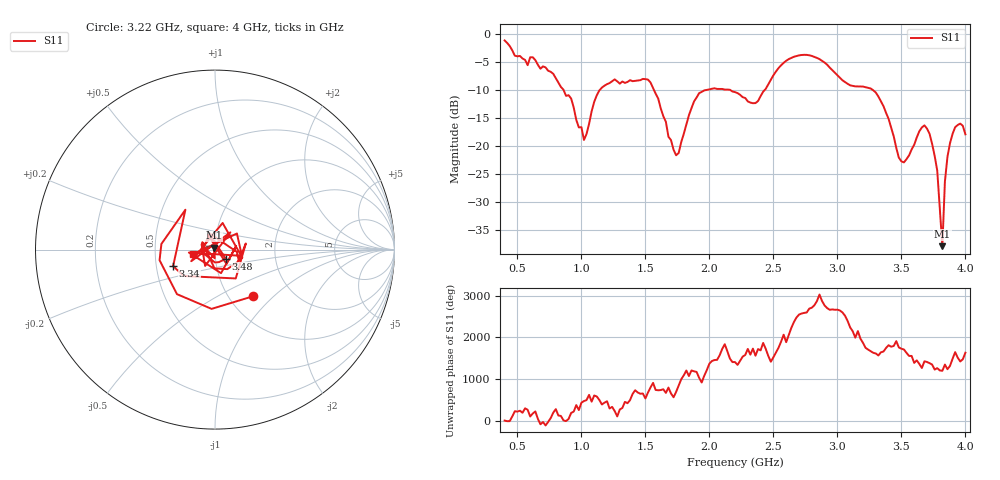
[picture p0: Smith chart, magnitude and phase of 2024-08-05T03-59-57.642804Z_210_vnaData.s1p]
!Created with skrf (http://scikit-rf.org).
# Hz S RI R 50.0
!freq ReS11 ImS11
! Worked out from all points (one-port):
!   181 points, 400 MHz to 4 GHz, reference 50 ohm
!   lowest |S11| = -37.9 dB at 3.82 GHz (marker M1), VSWR 1.03, Z = 49.3 + j1.09 ohm
!   |S11| at or under -10 dB: 860.9 MHz to 1.143 GHz (282.3 MHz wide, 28.2 % of centre); 1.567 GHz to 1.975 GHz (407.9 MHz wide, 23 % of centre); 3.277 GHz to end of sweep (the widest 3 of 4)
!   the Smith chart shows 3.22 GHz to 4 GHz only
!   S11 on the Smith chart (normalised r, x): 3.22 GHz: 1.29, -0.75; 3.34 GHz: 0.61, -0.12; 3.48 GHz: 1.12, -0.12; 4 GHz: 0.78, -0.04
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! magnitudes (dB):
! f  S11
! 400 MHz  -1.2
! 860 MHz  -10.0
! 920 MHz  -11.5
! 1.02 GHz  -18.9
! 1.14 GHz  -10.1
! 1.3 GHz  -8.9
! 1.54 GHz  -8.7
! 1.72 GHz  -20.7
! 1.76 GHz  -21.2
! 1.84 GHz  -14.5
! 1.92 GHz  -10.6
! 2.2 GHz  -10.4
! 2.36 GHz  -12.3
! 2.66 GHz  -4.1
! 2.86 GHz  -4.5
! 3.1 GHz  -9.2
! 3.22 GHz  -9.5
! 3.34 GHz  -12.0
! 3.48 GHz  -22.1
! 3.56 GHz  -21.7
! 3.66 GHz  -16.7
! 3.72 GHz  -17.8
! 3.78 GHz  -24.4
! 3.82 GHz  -37.9
! 3.84 GHz  -26.3
! 3.88 GHz  -19.5
! 3.94 GHz  -16.2
! 4 GHz  -17.9
